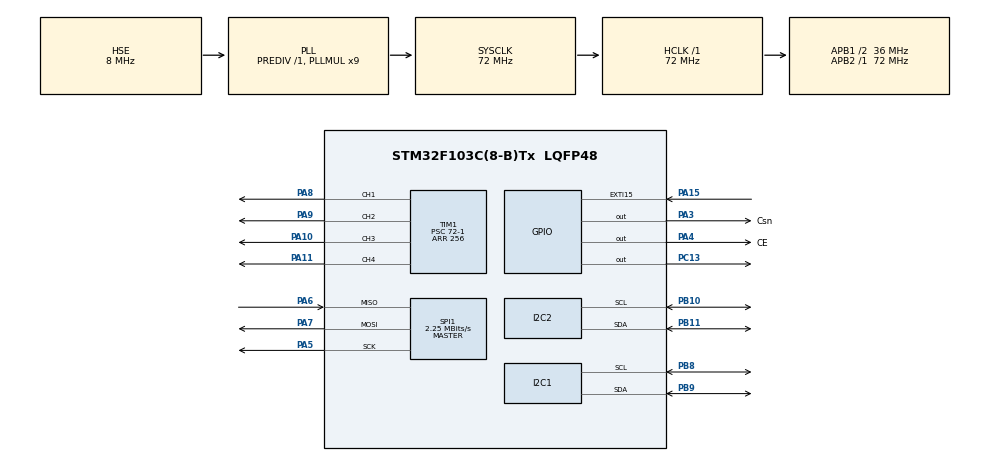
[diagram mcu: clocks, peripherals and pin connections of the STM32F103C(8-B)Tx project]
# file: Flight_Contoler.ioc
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Mcu.Family=STM32F1
Mcu.Name=STM32F103C(8-B)Tx
Mcu.Package=LQFP48
NVIC.EXTI15_10_IRQn=true\:0\:0\:false\:false\:true\:true\:true\:true
NVIC.PriorityGroup=NVIC_PRIORITYGROUP_4
PA10.Signal=S_TIM1_CH3
PA11.Signal=S_TIM1_CH4
PA13.Mode=Serial_Wire
PA13.Signal=SYS_JTMS-SWDIO
PA14.Mode=Serial_Wire
PA14.Signal=SYS_JTCK-SWCLK
PA15.GPIO_ModeDefaultEXTI=GPIO_MODE_IT_FALLING
PA15.GPIO_PuPd=GPIO_NOPULL
PA15.Signal=GPXTI15
PA3.GPIO_Label=Csn
PA3.Signal=GPIO_Output
PA4.GPIO_Label=CE
PA4.Signal=GPIO_Output
PA5.Mode=Full_Duplex_Master
PA5.Signal=SPI1_SCK
PA6.Mode=Full_Duplex_Master
PA6.Signal=SPI1_MISO
PA7.Mode=Full_Duplex_Master
PA7.Signal=SPI1_MOSI
PA8.Signal=S_TIM1_CH1
PA9.Signal=S_TIM1_CH2
PB10.Mode=I2C
PB10.Signal=I2C2_SCL
PB11.Mode=I2C
PB11.Signal=I2C2_SDA
PB8.Mode=I2C
PB8.Signal=I2C1_SCL
PB9.Mode=I2C
PB9.Signal=I2C1_SDA
PC13-TAMPER-RTC.Signal=GPIO_Output
PD0-OSC_IN.Mode=HSE-External-Oscillator
PD0-OSC_IN.Signal=RCC_OSC_IN
PD1-OSC_OUT.Mode=HSE-External-Oscillator
PD1-OSC_OUT.Signal=RCC_OSC_OUT
ProjectManager.HeapSize=0x200
ProjectManager.StackSize=0x400
ProjectManager.TargetToolchain=STM32CubeIDE
RCC.AHBFreq_Value=72000000
RCC.APB1CLKDivider=RCC_HCLK_DIV2
RCC.APB1Freq_Value=36000000
RCC.APB1TimFreq_Value=72000000
RCC.APB2Freq_Value=72000000
RCC.APB2TimFreq_Value=72000000
RCC.HCLKFreq_Value=72000000
RCC.PLLMUL=RCC_PLL_MUL9
RCC.PLLSourceVirtual=RCC_PLLSOURCE_HSE
RCC.SYSCLKFreq_VALUE=72000000
RCC.SYSCLKSource=RCC_SYSCLKSOURCE_PLLCLK
RCC.USBFreq_Value=72000000
SH.S_TIM1_CH1.0=TIM1_CH1,PWM Generation1 CH1
SH.S_TIM1_CH2.0=TIM1_CH2,PWM Generation2 CH2
SH.S_TIM1_CH3.0=TIM1_CH3,PWM Generation3 CH3
SH.S_TIM1_CH4.0=TIM1_CH4,PWM Generation4 CH4
SPI1.BaudRatePrescaler=SPI_BAUDRATEPRESCALER_32
SPI1.CalculateBaudRate=2.25 MBits/s
SPI1.Direction=SPI_DIRECTION_2LINES
SPI1.Mode=SPI_MODE_MASTER
SPI1.VirtualType=VM_MASTER
TIM1.Channel-PWM\ Generation1\ CH1=TIM_CHANNEL_1
TIM1.Channel-PWM\ Generation2\ CH2=TIM_CHANNEL_2
TIM1.Channel-PWM\ Generation3\ CH3=TIM_CHANNEL_3
TIM1.Channel-PWM\ Generation4\ CH4=TIM_CHANNEL_4
TIM1.Period=256
TIM1.Prescaler=72-1
TIM2.Channel-Output\ Compare1\ No\ Output=TIM_CHANNEL_1
TIM2.Prescaler=72-1
VP_TIM1_VS_ClockSourceINT.Mode=Internal
VP_TIM2_VS_ClockSourceINT.Mode=Internal
VP_TIM2_VS_no_output1.Mode=Output Compare1 No Output
board=custom

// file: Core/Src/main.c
/* USER CODE BEGIN Header */
/**
  ******************************************************************************
  * @file           : main.c
  * @brief          : Main program body
  ******************************************************************************
  * @attention
  *
  * Copyright (c) 2024 STMicroelectronics.
  * All rights reserved.
  *
  * This software is licensed under terms that can be found in the LICENSE file
  * in the root directory of this software component.
  * If no LICENSE file comes with this software, it is provided AS-IS.
  *
  ******************************************************************************
  */
/* USER CODE END Header */
#include "main.h"

/* USER CODE BEGIN Includes */
#include "nRF24L01P.h"
#include "dwt_delay.h"
#include "MPU_6050.h"

void NRFSendData(char * nrfID, char * nrfData);
void NRF_main_init(void);

SensorData_t SensorData;
uint32_t adc_values[4];
float AngleX,AngleY,AngleZ;
nRF24L01P myNRF;
char RXBuffer[32];
char TXBuffer[32];
char regStatus;
float Sn = 0.0030;
uint32_t T ;
uint8_t Adc_Val1[24];
uint8_t Adc_Val[8];

float DR_Roll,DR_Pitch,DR_Yaw;
float DR_Roll_Angle,DR_Pitch_Angle;
float ER_Roll,ER_Pitch,ER_Yaw;
float ER_Roll_Angle,ER_Pitch_Angle;
float IN_Roll,IN_Pitch,IN_Yaw;
float PE_ER_Roll,PE_ER_Pitch,PE_ER_Yaw;
float PE_ER_Roll_Angle,PE_ER_Pitch_Angle;
float PIR_Roll,PIR_Pitch,PIR_Yaw;
float PIR_Roll_Angle,PIR_Pitch_Angle;
float PID_return[]={0,0,0};

float PRateRoll=0;float PRatePitch=0;float PRateYaw=0;
float IRateRoll=0;float IRatePitch=0;float IRateYaw=0;
float DRateRoll=0;float DRatePitch=0;float DRateYaw=0;

float P_Angle_Roll=0;float P_Angle_Pitch=0;
float I_Angle_Roll=0;float I_Angle_Pitch=0;
float D_Angle_Roll=0;float D_Angle_Pitch=0;
/*float PRateRoll=0.4;float PRatePitch=0.4;float PRateYaw=0;
float IRateRoll=0;float IRatePitch=0;float IRateYaw=0;
float DRateRoll=0.0003;float DRatePitch=0.0003;float DRateYaw=0;

float P_Angle_Roll=4;float P_Angle_Pitch=4;
float I_Angle_Roll=0.5;float I_Angle_Pitch=0.5;
float D_Angle_Roll=6;float D_Angle_Pitch=6;
*/
float K_Angle_Roll =0;
float KU_Angle_Roll =4;
float K_Angle_Pitch =0;
float KU_Angle_Pitch =4;
float Kalman_Output[]={0,0};
float Kalman_Angles[]={0,0};

uint8_t M1,M2,M3,M4;
/* USER CODE END Includes */

I2C_HandleTypeDef hi2c1;
I2C_HandleTypeDef hi2c2;

SPI_HandleTypeDef hspi1;

TIM_HandleTypeDef htim1;
TIM_HandleTypeDef htim2;

void SystemClock_Config(void);
static void MX_GPIO_Init(void);
static void MX_I2C1_Init(void);
static void MX_I2C2_Init(void);
static void MX_SPI1_Init(void);
static void MX_TIM1_Init(void);
static void MX_TIM2_Init(void);

int main(void)
{

  /* MCU Configuration--------------------------------------------------------*/

  /* Reset of all peripherals, Initializes the Flash interface and the Systick. */
  HAL_Init();

  /* Configure the system clock */
  SystemClock_Config();

  /* Initialize all configured peripherals */
  MX_GPIO_Init();
  MX_I2C1_Init();
  MX_I2C2_Init();
  MX_SPI1_Init();
  MX_TIM1_Init();
  MX_TIM2_Init();
  /* USER CODE BEGIN 2 */
  Motor_Inıt();
  HAL_TIM_Base_Start(&htim1);
  HAL_TIM_Base_Start(&htim2);
  HAL_Delay(100);
  DWT_Init();
  MPU_6050_Init();
  HAL_Delay(1000);
  NRF_main_init();
  MPU_6050_Gyroscope_Cali(&SensorData);
  /* USER CODE END 2 */

  /* Infinite loop */
  /* USER CODE BEGIN WHILE */
  while (1){
  __HAL_TIM_SET_COUNTER(&htim2,0);
  NRFSendData("00001", "OK!");
	 if((myNRF.RXIRQ==1) && (!myNRF.Busy))
	      {
	      myNRF.RXIRQ==0;
	      HAL_GPIO_TogglePin(GPIOC, GPIO_PIN_13);
	      }
	 for (int i = 0;i<24;i++)
	  {
	     	Adc_Val1[i] = myNRF.RX_Buffer[i];
	     	HAL_Delay(1);

	    }
	 for (int j = 1;j<9;j++){
		 Adc_Val[j-1] = (Adc_Val1[j*3-3]-48)*100 + (Adc_Val1[j*3-2]-48)*10  + Adc_Val1[j]-48;
		 HAL_Delay(1);
	 }
	 HAL_Delay(1);
	 Get_IMU_Data();
	 Kalman_Angles_Cal(&SensorData);
	 Control_Motor(Adc_Val[2],Adc_Val[7],Adc_Val[4],0,0,Adc_Val[0],&SensorData);
	   T = __HAL_TIM_GET_COUNTER(&htim2);

    /* USER CODE END WHILE */

  }
}

void SystemClock_Config(void)
{
  RCC_OscInitTypeDef RCC_OscInitStruct = {0};
  RCC_ClkInitTypeDef RCC_ClkInitStruct = {0};

  /** Initializes the RCC Oscillators according to the specified parameters
  * in the RCC_OscInitTypeDef structure.
  */
  RCC_OscInitStruct.OscillatorType = RCC_OSCILLATORTYPE_HSE;
  RCC_OscInitStruct.HSEState = RCC_HSE_ON;
  RCC_OscInitStruct.HSEPredivValue = RCC_HSE_PREDIV_DIV1;
  RCC_OscInitStruct.HSIState = RCC_HSI_ON;
  RCC_OscInitStruct.PLL.PLLState = RCC_PLL_ON;
  RCC_OscInitStruct.PLL.PLLSource = RCC_PLLSOURCE_HSE;
  RCC_OscInitStruct.PLL.PLLMUL = RCC_PLL_MUL9;
  if (HAL_RCC_OscConfig(&RCC_OscInitStruct) != HAL_OK)
  {
    Error_Handler();
  }

  /** Initializes the CPU, AHB and APB buses clocks
  */
  RCC_ClkInitStruct.ClockType = RCC_CLOCKTYPE_HCLK|RCC_CLOCKTYPE_SYSCLK
                              |RCC_CLOCKTYPE_PCLK1|RCC_CLOCKTYPE_PCLK2;
  RCC_ClkInitStruct.SYSCLKSource = RCC_SYSCLKSOURCE_PLLCLK;
  RCC_ClkInitStruct.AHBCLKDivider = RCC_SYSCLK_DIV1;
  RCC_ClkInitStruct.APB1CLKDivider = RCC_HCLK_DIV2;
  RCC_ClkInitStruct.APB2CLKDivider = RCC_HCLK_DIV1;

  if (HAL_RCC_ClockConfig(&RCC_ClkInitStruct, FLASH_LATENCY_2) != HAL_OK)
  {
    Error_Handler();
  }
}

static void MX_I2C1_Init(void)
{

  hi2c1.Instance = I2C1;
  hi2c1.Init.ClockSpeed = 100000;
  hi2c1.Init.DutyCycle = I2C_DUTYCYCLE_2;
  hi2c1.Init.OwnAddress1 = 0;
  hi2c1.Init.AddressingMode = I2C_ADDRESSINGMODE_7BIT;
  hi2c1.Init.DualAddressMode = I2C_DUALADDRESS_DISABLE;
  hi2c1.Init.OwnAddress2 = 0;
  hi2c1.Init.GeneralCallMode = I2C_GENERALCALL_DISABLE;
  hi2c1.Init.NoStretchMode = I2C_NOSTRETCH_DISABLE;
  if (HAL_I2C_Init(&hi2c1) != HAL_OK)
  {
    Error_Handler();
  }

}

static void MX_I2C2_Init(void)
{

  hi2c2.Instance = I2C2;
  hi2c2.Init.ClockSpeed = 100000;
  hi2c2.Init.DutyCycle = I2C_DUTYCYCLE_2;
  hi2c2.Init.OwnAddress1 = 0;
  hi2c2.Init.AddressingMode = I2C_ADDRESSINGMODE_7BIT;
  hi2c2.Init.DualAddressMode = I2C_DUALADDRESS_DISABLE;
  hi2c2.Init.OwnAddress2 = 0;
  hi2c2.Init.GeneralCallMode = I2C_GENERALCALL_DISABLE;
  hi2c2.Init.NoStretchMode = I2C_NOSTRETCH_DISABLE;
  if (HAL_I2C_Init(&hi2c2) != HAL_OK)
  {
    Error_Handler();
  }

}

static void MX_SPI1_Init(void)
{

  /* SPI1 parameter configuration*/
  hspi1.Instance = SPI1;
  hspi1.Init.Mode = SPI_MODE_MASTER;
  hspi1.Init.Direction = SPI_DIRECTION_2LINES;
  hspi1.Init.DataSize = SPI_DATASIZE_8BIT;
  hspi1.Init.CLKPolarity = SPI_POLARITY_LOW;
  hspi1.Init.CLKPhase = SPI_PHASE_1EDGE;
  hspi1.Init.NSS = SPI_NSS_SOFT;
  hspi1.Init.BaudRatePrescaler = SPI_BAUDRATEPRESCALER_32;
  hspi1.Init.FirstBit = SPI_FIRSTBIT_MSB;
  hspi1.Init.TIMode = SPI_TIMODE_DISABLE;
  hspi1.Init.CRCCalculation = SPI_CRCCALCULATION_DISABLE;
  hspi1.Init.CRCPolynomial = 10;
  if (HAL_SPI_Init(&hspi1) != HAL_OK)
  {
    Error_Handler();
  }

}

static void MX_TIM1_Init(void)
{

  TIM_ClockConfigTypeDef sClockSourceConfig = {0};
  TIM_MasterConfigTypeDef sMasterConfig = {0};
  TIM_OC_InitTypeDef sConfigOC = {0};
  TIM_BreakDeadTimeConfigTypeDef sBreakDeadTimeConfig = {0};

  htim1.Instance = TIM1;
  htim1.Init.Prescaler = 72-1;
  htim1.Init.CounterMode = TIM_COUNTERMODE_UP;
  htim1.Init.Period = 256;
  htim1.Init.ClockDivision = TIM_CLOCKDIVISION_DIV1;
  htim1.Init.RepetitionCounter = 0;
  htim1.Init.AutoReloadPreload = TIM_AUTORELOAD_PRELOAD_DISABLE;
  if (HAL_TIM_Base_Init(&htim1) != HAL_OK)
  {
    Error_Handler();
  }
  sClockSourceConfig.ClockSource = TIM_CLOCKSOURCE_INTERNAL;
  if (HAL_TIM_ConfigClockSource(&htim1, &sClockSourceConfig) != HAL_OK)
  {
    Error_Handler();
  }
  if (HAL_TIM_PWM_Init(&htim1) != HAL_OK)
  {
    Error_Handler();
  }
  sMasterConfig.MasterOutputTrigger = TIM_TRGO_RESET;
  sMasterConfig.MasterSlaveMode = TIM_MASTERSLAVEMODE_DISABLE;
  if (HAL_TIMEx_MasterConfigSynchronization(&htim1, &sMasterConfig) != HAL_OK)
  {
    Error_Handler();
  }
  sConfigOC.OCMode = TIM_OCMODE_PWM1;
  sConfigOC.Pulse = 0;
  sConfigOC.OCPolarity = TIM_OCPOLARITY_HIGH;
  sConfigOC.OCNPolarity = TIM_OCNPOLARITY_HIGH;
  sConfigOC.OCFastMode = TIM_OCFAST_DISABLE;
  sConfigOC.OCIdleState = TIM_OCIDLESTATE_RESET;
  sConfigOC.OCNIdleState = TIM_OCNIDLESTATE_RESET;
  if (HAL_TIM_PWM_ConfigChannel(&htim1, &sConfigOC, TIM_CHANNEL_1) != HAL_OK)
  {
    Error_Handler();
  }
  if (HAL_TIM_PWM_ConfigChannel(&htim1, &sConfigOC, TIM_CHANNEL_2) != HAL_OK)
  {
    Error_Handler();
  }
  if (HAL_TIM_PWM_ConfigChannel(&htim1, &sConfigOC, TIM_CHANNEL_3) != HAL_OK)
  {
    Error_Handler();
  }
  if (HAL_TIM_PWM_ConfigChannel(&htim1, &sConfigOC, TIM_CHANNEL_4) != HAL_OK)
  {
    Error_Handler();
  }
  sBreakDeadTimeConfig.OffStateRunMode = TIM_OSSR_DISABLE;
  sBreakDeadTimeConfig.OffStateIDLEMode = TIM_OSSI_DISABLE;
  sBreakDeadTimeConfig.LockLevel = TIM_LOCKLEVEL_OFF;
  sBreakDeadTimeConfig.DeadTime = 0;
  sBreakDeadTimeConfig.BreakState = TIM_BREAK_DISABLE;
  sBreakDeadTimeConfig.BreakPolarity = TIM_BREAKPOLARITY_HIGH;
  sBreakDeadTimeConfig.AutomaticOutput = TIM_AUTOMATICOUTPUT_DISABLE;
  if (HAL_TIMEx_ConfigBreakDeadTime(&htim1, &sBreakDeadTimeConfig) != HAL_OK)
  {
    Error_Handler();
  }
  HAL_TIM_MspPostInit(&htim1);

}

static void MX_TIM2_Init(void)
{

  TIM_ClockConfigTypeDef sClockSourceConfig = {0};
  TIM_MasterConfigTypeDef sMasterConfig = {0};
  TIM_OC_InitTypeDef sConfigOC = {0};

  htim2.Instance = TIM2;
  htim2.Init.Prescaler = 72-1;
  htim2.Init.CounterMode = TIM_COUNTERMODE_UP;
  htim2.Init.Period = 65535;
  htim2.Init.ClockDivision = TIM_CLOCKDIVISION_DIV1;
  htim2.Init.AutoReloadPreload = TIM_AUTORELOAD_PRELOAD_DISABLE;
  if (HAL_TIM_Base_Init(&htim2) != HAL_OK)
  {
    Error_Handler();
  }
  sClockSourceConfig.ClockSource = TIM_CLOCKSOURCE_INTERNAL;
  if (HAL_TIM_ConfigClockSource(&htim2, &sClockSourceConfig) != HAL_OK)
  {
    Error_Handler();
  }
  if (HAL_TIM_OC_Init(&htim2) != HAL_OK)
  {
    Error_Handler();
  }
  sMasterConfig.MasterOutputTrigger = TIM_TRGO_RESET;
  sMasterConfig.MasterSlaveMode = TIM_MASTERSLAVEMODE_DISABLE;
  if (HAL_TIMEx_MasterConfigSynchronization(&htim2, &sMasterConfig) != HAL_OK)
  {
    Error_Handler();
  }
  sConfigOC.OCMode = TIM_OCMODE_TIMING;
  sConfigOC.Pulse = 0;
  sConfigOC.OCPolarity = TIM_OCPOLARITY_HIGH;
  sConfigOC.OCFastMode = TIM_OCFAST_DISABLE;
  if (HAL_TIM_OC_ConfigChannel(&htim2, &sConfigOC, TIM_CHANNEL_1) != HAL_OK)
  {
    Error_Handler();
  }

}

static void MX_GPIO_Init(void)
{
  GPIO_InitTypeDef GPIO_InitStruct = {0};

  /* GPIO Ports Clock Enable */
  __HAL_RCC_GPIOC_CLK_ENABLE();
  __HAL_RCC_GPIOD_CLK_ENABLE();
  __HAL_RCC_GPIOA_CLK_ENABLE();
  __HAL_RCC_GPIOB_CLK_ENABLE();

  /*Configure GPIO pin Output Level */
  HAL_GPIO_WritePin(GPIOC, GPIO_PIN_13, GPIO_PIN_RESET);

  /*Configure GPIO pin Output Level */
  HAL_GPIO_WritePin(GPIOA, Csn_Pin|CE_Pin, GPIO_PIN_RESET);

  /*Configure GPIO pin : PC13 */
  GPIO_InitStruct.Pin = GPIO_PIN_13;
  GPIO_InitStruct.Mode = GPIO_MODE_OUTPUT_PP;
  GPIO_InitStruct.Pull = GPIO_NOPULL;
  GPIO_InitStruct.Speed = GPIO_SPEED_FREQ_LOW;
  HAL_GPIO_Init(GPIOC, &GPIO_InitStruct);

  /*Configure GPIO pins : Csn_Pin CE_Pin */
  GPIO_InitStruct.Pin = Csn_Pin|CE_Pin;
  GPIO_InitStruct.Mode = GPIO_MODE_OUTPUT_PP;
  GPIO_InitStruct.Pull = GPIO_NOPULL;
  GPIO_InitStruct.Speed = GPIO_SPEED_FREQ_LOW;
  HAL_GPIO_Init(GPIOA, &GPIO_InitStruct);

  /*Configure GPIO pin : PA15 */
  GPIO_InitStruct.Pin = GPIO_PIN_15;
  GPIO_InitStruct.Mode = GPIO_MODE_IT_FALLING;
  GPIO_InitStruct.Pull = GPIO_NOPULL;
  HAL_GPIO_Init(GPIOA, &GPIO_InitStruct);

  /* EXTI interrupt init*/
  HAL_NVIC_SetPriority(EXTI15_10_IRQn, 0, 0);
  HAL_NVIC_EnableIRQ(EXTI15_10_IRQn);

}

/* USER CODE BEGIN 4 */
void HAL_GPIO_EXTI_Callback(uint16_t GPIO_Pin)
{
	if(GPIO_Pin == GPIO_PIN_15)
	{
		if(HAL_nRF24L01P_IRQ_Handler(&myNRF) != HAL_OK)
		{
			Error_Handler();
		}
		HAL_nRF24L01P_ReadRegister(&myNRF, nRF_STATUS, &regStatus);
	}
}
void NRFSendData(char * nrfID, char * nrfData)
{
	HAL_nRF24L01P_SetPTXAddress(&myNRF, (uint8_t *) nrfID);
	if(HAL_nRF24L01P_TransmitPacketACK(&myNRF, (uint8_t *) nrfData, nRF_DATA_PIPE_0) != HAL_OK)
	{
		//Error
	}
}

void NRF_main_init(void)
{
	/* ---- myNRF24L01+ Definitions ---- */
	myNRF.hspi = &hspi1;
	myNRF.CRC_Width = nRF_CRC_WIDTH_BYTE;
	myNRF.ADDR_Width = nRF_ADDR_WIDTH_5;
	myNRF.Data_Rate = nRF_DATA_RATE_2MBPS;
	myNRF.TX_Power = nRF_TX_PWR_M18dBm;
	myNRF.State = nRF_STATE_RX;

	myNRF.RF_Channel = 1;
	myNRF.PayloadWidth = nRF_RXPW_32BYTES;
	myNRF.RetransmitCount = nRF_RETX_DISABLED;// nRF_RETX_COUNT_15;
	myNRF.RetransmitDelay = nRF_RETX_DELAY_250uS; //nRF_RETX_DELAY_4000uS;

	myNRF.RX_Address = (uint8_t *)"00000";
	myNRF.TX_Address = (uint8_t *)"00001";

	myNRF.RX_Buffer = RXBuffer;
	myNRF.TX_Buffer = TXBuffer;

	myNRF.nRF_nSS_GPIO_PORT = GPIOA;
	myNRF.nRF_nSS_GPIO_PIN = GPIO_PIN_3;

	myNRF.nRF_CE_GPIO_PORT = GPIOA;
	myNRF.nRF_CE_GPIO_PIN = GPIO_PIN_4;

	//ekleme
	myNRF.RXIRQ = 0;
	myNRF.TXIRQ = 0;
	myNRF.MaxReIRQ = 0;
	/* ---- myNRF24L01+ Definitions ---- */

	if(HAL_nRF24L01P_Init(&myNRF) != HAL_OK)
	{
		Error_Handler();
	}
}
void Motor_control(uint8_t m1,uint8_t m2,uint8_t m3,uint8_t m4){
	 TIM1->CCR1 = m2;
	 TIM1->CCR2 = m3;
	 TIM1->CCR3 = m1;
	 TIM1->CCR4 = m4;
}

void Motor_Inıt(){
	HAL_TIM_PWM_Start(&htim1, TIM_CHANNEL_1);
	HAL_TIM_PWM_Start(&htim1, TIM_CHANNEL_2);
	HAL_TIM_PWM_Start(&htim1, TIM_CHANNEL_3);
	HAL_TIM_PWM_Start(&htim1, TIM_CHANNEL_4);
}
void Get_IMU_Data(){
	MPU_6050_Accelerometer_Read(&SensorData);
	MPU_6050_Angle(&SensorData);
	MPU_6050_Gyroscope_Read(&SensorData);
	 MPU_6050_Temp_Read();
}

void PID_equation(float Error,float P,float I,float D,float PrevError,float PrevItern){
	float Pterm= P*Error;
	float Iterm = PrevItern+I*(Error+PrevError)*Sn/2;
	if(Iterm>50){Iterm=50;}
	else if(Iterm<=-50){Iterm=-50;}
	float Dterm=D*(Error-PrevError)/Sn;
	float PIDout=Pterm+Iterm+Dterm;
	if(PIDout>50){PIDout=50;}
	else if(PIDout<=-50){PIDout=-50;}
	PID_return[0]=PIDout;
	PID_return[1]=Error;
	PID_return[2]=Iterm;
}
void PID_Reset(){
	 PE_ER_Roll=0,PE_ER_Pitch=0,PE_ER_Yaw=0;
	 PIR_Roll=0,PIR_Pitch=0,PIR_Yaw=0;
	 PE_ER_Roll_Angle=0,PE_ER_Pitch_Angle=0;
	 PIR_Roll_Angle=0,PIR_Pitch_Angle=0;
}

void Control_Motor(uint8_t Trottle,uint8_t Roll,uint8_t Pitch,uint8_t Roll_Angle,uint8_t Pitch_Angle,uint8_t Yaw,SensorData_t *SensorData){
	ER_Roll_Angle=-Roll_Angle-K_Angle_Roll;
	ER_Pitch_Angle=-Pitch_Angle-K_Angle_Pitch;
	PID_equation(ER_Roll_Angle,P_Angle_Roll,I_Angle_Roll,D_Angle_Roll,PE_ER_Roll_Angle,PIR_Roll_Angle);
	Roll=PID_return[0];
	PE_ER_Roll_Angle=PID_return[1];
	PIR_Roll_Angle=PID_return[2];
	PID_equation(ER_Pitch_Angle,P_Angle_Pitch,I_Angle_Pitch,D_Angle_Pitch,PE_ER_Pitch_Angle,PIR_Pitch_Angle);
	Pitch=PID_return[0];
	PE_ER_Pitch_Angle=PID_return[1];
	PIR_Pitch_Angle=PID_return[2];
	ER_Roll=Roll-(-SensorData->GYRO_XOUT);
	ER_Pitch=Pitch-(-SensorData->GYRO_YOUT);
	ER_Yaw=Yaw-(-SensorData->GYRO_ZOUT);
	PID_equation(ER_Roll,PRateRoll,IRateRoll,DRateRoll,PE_ER_Roll,PIR_Roll);
	IN_Roll=PID_return[0];
	PE_ER_Roll=PID_return[1];
	PIR_Roll=PID_return[2];
	PID_equation(ER_Pitch,PRatePitch,IRatePitch,DRatePitch,PE_ER_Pitch,PIR_Pitch);
	IN_Pitch=PID_return[0];
	PE_ER_Pitch=PID_return[1];
	PIR_Pitch=PID_return[2];
	PID_equation(ER_Yaw,PRateYaw,IRateYaw,DRateYaw,PE_ER_Yaw,PIR_Yaw);
	IN_Yaw=PID_return[0];
	PE_ER_Yaw=PID_return[1];
	PIR_Yaw=PID_return[2];

	if(Trottle>=255){Trottle=255;}

	M1=Trottle-IN_Roll-IN_Pitch-IN_Yaw;
	M2=Trottle-IN_Roll+IN_Pitch+IN_Yaw;
	M3=Trottle+IN_Roll+IN_Pitch-IN_Yaw;
	M4=Trottle+IN_Roll-IN_Pitch+IN_Yaw;

	Motor_control(M1,M2,M3,M4);
}

void Kalman_filter(float Kalman_state,float Kalman_Uncertanity,float Kalman_Input,float Kalman_Mesurement){
	Kalman_state=Kalman_state+Sn*Kalman_Input;
	Kalman_Uncertanity=Kalman_Uncertanity+Sn*Sn*4*4;
	float Kalman_Gain= Kalman_Uncertanity*1/(1*Kalman_Uncertanity+3*3);
	Kalman_state=Kalman_state+Kalman_Gain*(Kalman_Mesurement-Kalman_state);
	Kalman_Uncertanity=(1-Kalman_Gain)*Kalman_Uncertanity;
	Kalman_Output[0]=Kalman_state;
	Kalman_Output[1]=Kalman_Uncertanity;
}

void Kalman_Angles_Cal(SensorData_t *SensorData){
	Kalman_filter( K_Angle_Roll, KU_Angle_Roll,SensorData->GYRO_YOUT,SensorData->Angle_Y);
	K_Angle_Roll=Kalman_Output[0];
	KU_Angle_Roll=Kalman_Output[1];
	Kalman_filter( K_Angle_Pitch, KU_Angle_Pitch,SensorData->GYRO_XOUT,SensorData->Angle_X);
	K_Angle_Pitch=Kalman_Output[0];
	KU_Angle_Pitch=Kalman_Output[1];
}
/* USER CODE END 4 */

void Error_Handler(void)
{
  __disable_irq();
  while (1)
  {
  }
}
